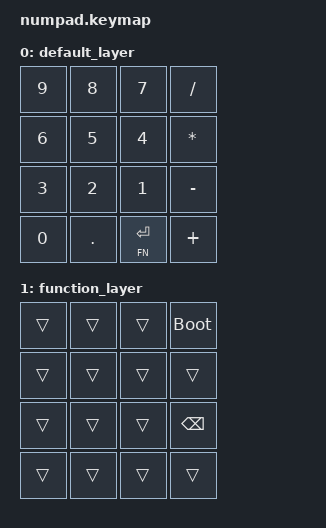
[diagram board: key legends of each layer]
#include <behaviors.dtsi>
#include <dt-bindings/zmk/bt.h>
#include <dt-bindings/zmk/keys.h>
#include <dt-bindings/zmk/outputs.h>

#define DEFAULT 0
#define FN 1

/ {
    keymap {
        compatible = "zmk,keymap";

        default_layer {
// -----------------------------
// | 7 | 8 | 9 | \ | 
// | 4 | 5 | 6 | * |
// | 1 | 2 | 3 | - |
// | 0 | . | = | + |
            bindings = <
&kp N9 &kp N8   &kp N7      &kp SLASH
&kp N6 &kp N5   &kp N4      &kp STAR
&kp N3 &kp N2   &kp N1      &kp MINUS
&kp N0 &kp DOT  &lt FN ENTER &kp PLUS
            >;
        };

        function_layer {
// -----------------------------
// | BOOT |   |   |   | 
// |   |   |   |   |
// |   |   |   |   |
// |   |   |   |   |
            bindings = <
   &trans  &trans  &trans &bootloader
   &trans  &trans  &trans &trans     
   &trans  &trans  &trans &kp BSPC   
   &trans  &trans  &trans &trans     
            >;

        };
    };
};
